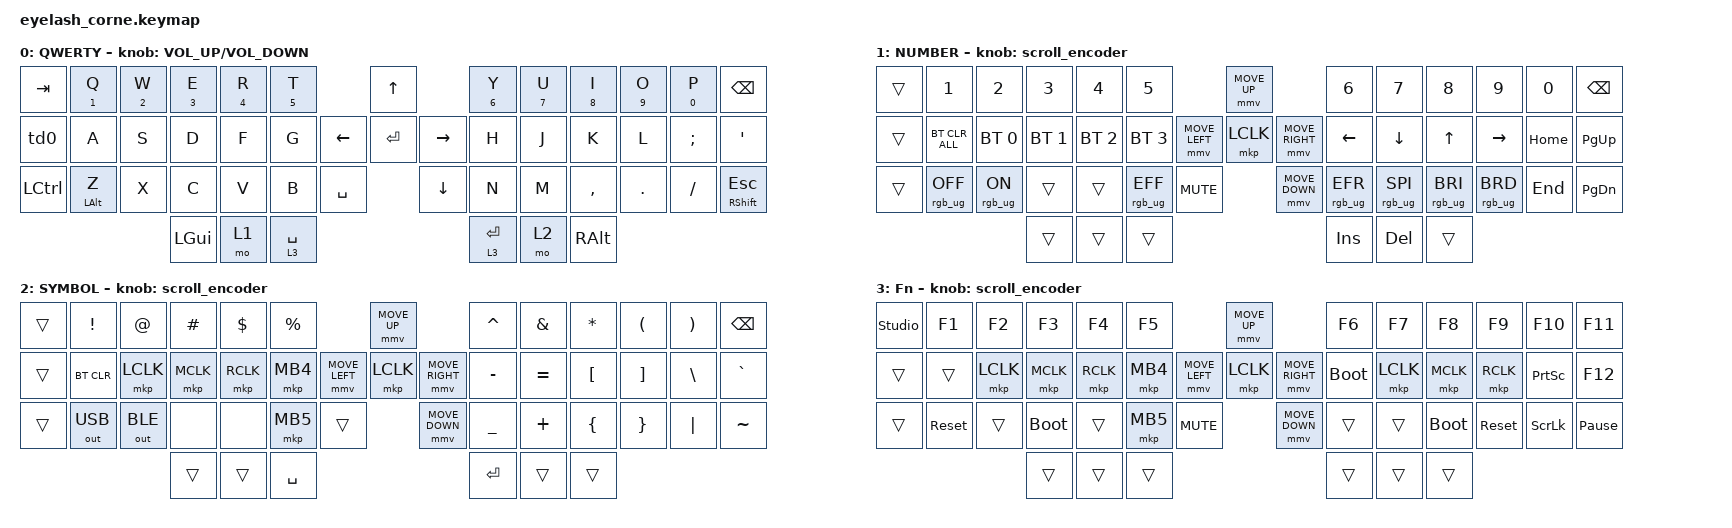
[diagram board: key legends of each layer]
#include <dt-bindings/zmk/mouse.h>
#include <input/processors.dtsi>
#include <behaviors.dtsi>
#include <dt-bindings/zmk/bt.h>
#include <dt-bindings/zmk/keys.h>
#include <dt-bindings/zmk/outputs.h>
#include <dt-bindings/zmk/pointing.h>
#include <dt-bindings/zmk/pointing.h>
#include <dt-bindings/zmk/pointing.h>
#include <dt-bindings/zmk/rgb.h>

/*

   &mmv_input_listener {
       input-processors = <&zip_xy_scaler 2 1>;
   };

   &msc_input_listener {
       input-processors = <&zip_xy_scaler 2 1>;
   };

 */

#define ZMK_MOUSE_DEFAULT_MOVE_VAL 1200  // 600
#define ZMK_MOUSE_DEFAULT_SCRL_VAL 20    // 10

&mt {
    tapping-term-ms = <500>;
    flavor = "tap-preferred";
};

/ {
    behaviors {
        td0: td0 {
            compatible = "zmk,behavior-tap-dance";
            display-name = "Shift/Caps Lock Tap Dance";
            #binding-cells = <0>;
            bindings = <&kp LEFT_SHIFT>, <&kp CAPS>;
        };
    };

    rgb_encoder: rgb_encoder {
        compatible = "zmk,behavior-sensor-rotate";
        #sensor-binding-cells = <0>;
        bindings = <&rgb_ug RGB_BRI>, <&rgb_ug RGB_BRD>;
    };

    scroll_encoder: scroll_encoder {
        compatible = "zmk,behavior-sensor-rotate";
        #sensor-binding-cells = <0>;
        bindings = <&msc SCRL_DOWN>, <&msc SCRL_UP>;

        tap-ms = <30>;
    };

    keymap {
        compatible = "zmk,keymap";

        default_layer {
            display-name = "QWERTY";
            bindings = <
&kp TAB    &mt NUMBER_1 Q  &mt NUMBER_2 W  &mt NUMBER_3 E  &mt NUMBER_4 R  &mt N5 T                            &kp UP                &mt NUMBER_6 Y  &mt NUMBER_7 U  &mt NUMBER_8 I  &mt NUMBER_9 O  &mt NUMBER_0 P  &kp BSPC
&td0       &kp A           &kp S           &kp D           &kp F           &kp G                     &kp LEFT  &kp ENTER  &kp RIGHT  &kp H           &kp J           &kp K           &kp L           &kp SEMI        &kp SQT
&kp LCTRL  &mt LEFT_ALT Z  &kp X           &kp C           &kp V           &kp B        &kp SPACE              &kp DOWN              &kp N           &kp M           &kp COMMA       &kp DOT         &kp FSLH        &mt RIGHT_SHIFT ESCAPE
                                           &kp LGUI        &mo 1           &lt 3 SPACE                                               &lt 3 ENTER     &mo 2           &kp RALT
            >;

            sensor-bindings = <&inc_dec_kp C_VOLUME_UP C_VOLUME_DOWN>;
        };

        lower_layer {
            display-name = "NUMBER";
            bindings = <
&trans  &kp N1           &kp N2          &kp N3        &kp N4        &kp N5                                         &mmv MOVE_UP                     &kp N6           &kp N7           &kp N8           &kp N9           &kp N0    &kp BSPC
&trans  &bt BT_CLR_ALL   &bt BT_SEL 0    &bt BT_SEL 1  &bt BT_SEL 2  &bt BT_SEL 3                   &mmv MOVE_LEFT  &mkp LCLK       &mmv MOVE_RIGHT  &kp LEFT         &kp DOWN         &kp UP           &kp RIGHT        &kp HOME  &kp PG_UP
&trans  &rgb_ug RGB_OFF  &rgb_ug RGB_ON  &trans        &trans        &rgb_ug RGB_EFF  &kp C_MUTE                    &mmv MOVE_DOWN                   &rgb_ug RGB_EFR  &rgb_ug RGB_SPI  &rgb_ug RGB_BRI  &rgb_ug RGB_BRD  &kp END   &kp PG_DN
                                         &trans        &trans        &trans                                                                          &kp INS          &kp DEL          &trans
            >;

            sensor-bindings = <&scroll_encoder>;
        };

        raise_layer {
            display-name = "SYMBOL";
            bindings = <
&trans  &kp EXCL      &kp AT        &kp HASH   &kp DLLR   &kp PRCNT                            &mmv MOVE_UP                     &kp CARET  &kp AMPS   &kp ASTRK  &kp LPAR  &kp RPAR  &kp BSPC
&trans  &bt BT_CLR    &mkp LCLK     &mkp MCLK  &mkp RCLK  &mkp MB4             &mmv MOVE_LEFT  &mkp LCLK       &mmv MOVE_RIGHT  &kp MINUS  &kp EQUAL  &kp LBKT   &kp RBKT  &kp BSLH  &kp GRAVE
&trans  &out OUT_USB  &out OUT_BLE  &none      &none      &mkp MB5   &trans                    &mmv MOVE_DOWN                   &kp UNDER  &kp PLUS   &kp LBRC   &kp RBRC  &kp PIPE  &kp TILDE
                                    &trans     &trans     &kp SPACE                                                             &kp RET    &trans     &trans
            >;

            sensor-bindings = <&scroll_encoder>;
        };

        layer_3 {
            display-name = "Fn";
            bindings = <
&studio_unlock  &kp F1      &kp F2     &kp F3       &kp F4     &kp F5                                  &mmv MOVE_UP                     &kp F6       &kp F7     &kp F8       &kp F9      &kp F10          &kp F11
&trans          &trans      &mkp LCLK  &mkp MCLK    &mkp RCLK  &mkp MB4                &mmv MOVE_LEFT  &mkp LCLK       &mmv MOVE_RIGHT  &bootloader  &mkp LCLK  &mkp MCLK    &mkp RCLK   &kp PRINTSCREEN  &kp F12
&trans          &sys_reset  &trans     &bootloader  &trans     &mkp MB5  &kp C_MUTE                    &mmv MOVE_DOWN                   &trans       &trans     &bootloader  &sys_reset  &kp SCROLLLOCK   &kp PAUSE_BREAK
                                       &trans       &trans     &trans                                                                   &trans       &trans     &trans
            >;

            sensor-bindings = <&scroll_encoder>;
        };
    };
};
